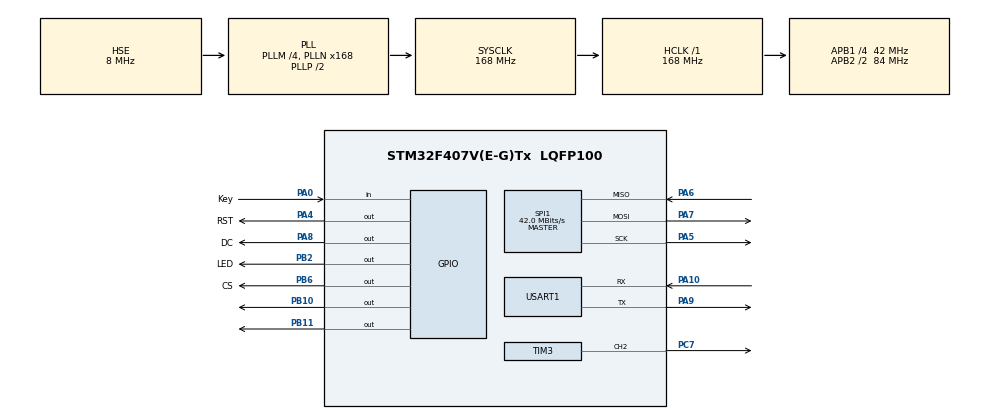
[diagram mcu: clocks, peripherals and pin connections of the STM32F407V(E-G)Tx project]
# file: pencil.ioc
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FREERTOS.Queues01=Mpu6050Queue,3,uint16_t,0,Static,Mpu6050QueueBuffer,Mpu6050QueueControlBlock;ModelgetQueue,10,uint16_t,0,Static,ModelgetQueueBuffer,ModelgetQueueControlBlock
FREERTOS.Tasks01=Mpu6050Task,24,128,Mpu6050,Default,NULL,Static,Mpu6050TaskBuffer,Mpu6050TaskControlBlock;ShowTask,24,128,Show,Default,NULL,Static,ShowTaskBuffer,ShowTaskControlBlock;DataTransTask,24,128,DataTrans,Default,NULL,Static,DataTransTaskBuffer,DataTransTaskControlBlock;DataGetTask,8,128,DataGet,Default,NULL,Static,DataGetTaskBuffer,DataGetTaskControlBlock;ModelTask,8,512,Model,Default,NULL,Static,ModelTaskBuffer,ModelTaskControlBlock
FREERTOS.configENABLE_FPU=1
Mcu.Family=STM32F4
Mcu.Name=STM32F407V(E-G)Tx
Mcu.Package=LQFP100
NVIC.PriorityGroup=NVIC_PRIORITYGROUP_4
NVIC.TIM2_IRQn=true\:15\:0\:false\:false\:true\:false\:false\:true\:true
NVIC.TIM4_IRQn=true\:5\:0\:false\:false\:true\:true\:true\:true\:true
NVIC.TimeBase=TIM2_IRQn
NVIC.TimeBaseIP=TIM2
NVIC.USART1_IRQn=true\:5\:0\:false\:false\:true\:true\:false\:true\:true
PA0-WKUP.GPIO_Label=Key
PA0-WKUP.Signal=GPIO_Input
PA10.Mode=Asynchronous
PA10.Signal=USART1_RX
PA13.Mode=Serial_Wire
PA13.Signal=SYS_JTMS-SWDIO
PA14.Mode=Serial_Wire
PA14.Signal=SYS_JTCK-SWCLK
PA4.GPIO_Label=RST
PA4.Signal=GPIO_Output
PA5.Mode=Full_Duplex_Master
PA5.Signal=SPI1_SCK
PA6.Mode=Full_Duplex_Master
PA6.Signal=SPI1_MISO
PA7.Mode=Full_Duplex_Master
PA7.Signal=SPI1_MOSI
PA8.GPIO_Label=DC
PA8.Signal=GPIO_Output
PA9.Mode=Asynchronous
PA9.Signal=USART1_TX
PB10.GPIO_ModeDefaultOutputPP=GPIO_MODE_OUTPUT_OD
PB10.GPIO_PuPd=GPIO_PULLUP
PB10.Signal=GPIO_Output
PB11.GPIO_ModeDefaultOutputPP=GPIO_MODE_OUTPUT_OD
PB11.GPIO_PuPd=GPIO_PULLUP
PB11.Signal=GPIO_Output
PB2.GPIO_Label=LED
PB2.Signal=GPIO_Output
PB6.GPIO_Label=CS
PB6.Signal=GPIO_Output
PC7.Signal=S_TIM3_CH2
PH0-OSC_IN.Mode=HSE-External-Oscillator
PH0-OSC_IN.Signal=RCC_OSC_IN
PH1-OSC_OUT.Mode=HSE-External-Oscillator
PH1-OSC_OUT.Signal=RCC_OSC_OUT
ProjectManager.HeapSize=0x200
ProjectManager.StackSize=0x400
ProjectManager.TargetToolchain=MDK-ARM V5.32
RCC.48MHZClocksFreq_Value=84000000
RCC.AHBFreq_Value=168000000
RCC.APB1CLKDivider=RCC_HCLK_DIV4
RCC.APB1Freq_Value=42000000
RCC.APB1TimFreq_Value=84000000
RCC.APB2CLKDivider=RCC_HCLK_DIV2
RCC.APB2Freq_Value=84000000
RCC.APB2TimFreq_Value=168000000
RCC.CortexFreq_Value=168000000
RCC.HCLKFreq_Value=168000000
RCC.HSE_VALUE=8000000
RCC.HSI_VALUE=16000000
RCC.LSE_VALUE=32768
RCC.PLLM=4
RCC.PLLN=168
RCC.PLLSourceVirtual=RCC_PLLSOURCE_HSE
RCC.SYSCLKFreq_VALUE=168000000
RCC.SYSCLKSource=RCC_SYSCLKSOURCE_PLLCLK
RCC.VCOOutputFreq_Value=336000000
SH.S_TIM3_CH2.0=TIM3_CH2,PWM Generation2 CH2
SPI1.CalculateBaudRate=42.0 MBits/s
SPI1.Direction=SPI_DIRECTION_2LINES
SPI1.Mode=SPI_MODE_MASTER
SPI1.VirtualType=VM_MASTER
TIM3.Channel-PWM\ Generation2\ CH2=TIM_CHANNEL_2
TIM3.Prescaler=300-1
TIM4.AutoReloadPreload=TIM_AUTORELOAD_PRELOAD_ENABLE
TIM4.Period=10000-1
TIM4.Prescaler=168-1
USART1.VirtualMode=VM_ASYNC
VP_FREERTOS_VS_CMSIS_V2.Mode=CMSIS_V2
VP_SYS_VS_tim2.Mode=TIM2
VP_TIM4_VS_ClockSourceINT.Mode=Internal
board=custom

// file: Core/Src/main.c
/* USER CODE BEGIN Header */
/**
  ******************************************************************************
  * @file           : main.c
  * @brief          : Main program body
  ******************************************************************************
  * @attention
  *
  * Copyright (c) 2025 STMicroelectronics.
  * All rights reserved.
  *
  * This software is licensed under terms that can be found in the LICENSE file
  * in the root directory of this software component.
  * If no LICENSE file comes with this software, it is provided AS-IS.
  *
  ******************************************************************************
  */
/* USER CODE END Header */
#include "main.h"
#include "cmsis_os.h"
#include "spi.h"
#include "tim.h"
#include "usart.h"
#include "gpio.h"

/* USER CODE BEGIN Includes */
#include <stdint.h>
#include <stdio.h>
#include <string.h>
/* USER CODE END Includes */

/* USER CODE BEGIN PTD */
#ifdef __GNUC__
#define PUTCHAR_PROTOTYPE int __io_putchar(int ch)
#else
#define PUTCHAR_PROTOTYPE int fputc(int ch, FILE *f)
#endif
/* USER CODE END PTD */

/* USER CODE BEGIN PD */
  uint16_t imu_sample_count = 0;
/* USER CODE END PD */

/* USER CODE BEGIN PM */
void DWT_Init(void)
{
    CoreDebug->DEMCR |= CoreDebug_DEMCR_TRCENA_Msk;
    DWT->CTRL |= DWT_CTRL_CYCCNTENA_Msk;
    DWT->CYCCNT = 0;
}
/* USER CODE END PM */

void SystemClock_Config(void);
void MX_FREERTOS_Init(void);

int main(void)
{

  /* MCU Configuration--------------------------------------------------------*/

  /* Reset of all peripherals, Initializes the Flash interface and the Systick. */
  HAL_Init();

  /* USER CODE BEGIN Init */
  DWT_Init();
  Key_Init();

  /* USER CODE END Init */

  /* Configure the system clock */
  SystemClock_Config();

  /* Initialize all configured peripherals */
  MX_GPIO_Init();
  MX_USART1_UART_Init();
  MX_SPI1_Init();
  MX_TIM3_Init();
  MX_TIM4_Init();
  /* USER CODE BEGIN 2 */
  printf("STM32F4 UART Printf Example\r\n");
  MPU6050_Init();
  /* USER CODE END 2 */

  /* Init scheduler */
  osKernelInitialize();

  /* Call init function for freertos objects (in cmsis_os2.c) */
  MX_FREERTOS_Init();

  /* Start scheduler */
  osKernelStart();

  /* We should never get here as control is now taken by the scheduler */

  /* Infinite loop */
  while (1)
  {

  }
}

void SystemClock_Config(void)
{
  RCC_OscInitTypeDef RCC_OscInitStruct = {0};
  RCC_ClkInitTypeDef RCC_ClkInitStruct = {0};

  /** Configure the main internal regulator output voltage
  */
  __HAL_RCC_PWR_CLK_ENABLE();
  __HAL_PWR_VOLTAGESCALING_CONFIG(PWR_REGULATOR_VOLTAGE_SCALE1);

  /** Initializes the RCC Oscillators according to the specified parameters
  * in the RCC_OscInitTypeDef structure.
  */
  RCC_OscInitStruct.OscillatorType = RCC_OSCILLATORTYPE_HSE;
  RCC_OscInitStruct.HSEState = RCC_HSE_ON;
  RCC_OscInitStruct.PLL.PLLState = RCC_PLL_ON;
  RCC_OscInitStruct.PLL.PLLSource = RCC_PLLSOURCE_HSE;
  RCC_OscInitStruct.PLL.PLLM = 4;
  RCC_OscInitStruct.PLL.PLLN = 168;
  RCC_OscInitStruct.PLL.PLLP = RCC_PLLP_DIV2;
  RCC_OscInitStruct.PLL.PLLQ = 4;
  if (HAL_RCC_OscConfig(&RCC_OscInitStruct) != HAL_OK)
  {
    Error_Handler();
  }

  /** Initializes the CPU, AHB and APB buses clocks
  */
  RCC_ClkInitStruct.ClockType = RCC_CLOCKTYPE_HCLK|RCC_CLOCKTYPE_SYSCLK
                              |RCC_CLOCKTYPE_PCLK1|RCC_CLOCKTYPE_PCLK2;
  RCC_ClkInitStruct.SYSCLKSource = RCC_SYSCLKSOURCE_PLLCLK;
  RCC_ClkInitStruct.AHBCLKDivider = RCC_SYSCLK_DIV1;
  RCC_ClkInitStruct.APB1CLKDivider = RCC_HCLK_DIV4;
  RCC_ClkInitStruct.APB2CLKDivider = RCC_HCLK_DIV2;

  if (HAL_RCC_ClockConfig(&RCC_ClkInitStruct, FLASH_LATENCY_5) != HAL_OK)
  {
    Error_Handler();
  }
}

/* USER CODE BEGIN 4 */
PUTCHAR_PROTOTYPE
{
    HAL_UART_Transmit(&huart1, (uint8_t *)&ch, 1, HAL_MAX_DELAY);
    return ch;
}

#ifdef __GNUC__
int _write(int file, char *ptr, int len)
{
    int DataIndex;
    for (DataIndex = 0; DataIndex < len; DataIndex++)
    {
        __io_putchar(*ptr++);
    }
    return len;
}
#endif
/* USER CODE END 4 */

void HAL_TIM_PeriodElapsedCallback(TIM_HandleTypeDef *htim)
{
  if(htim->Instance == TIM2)
  {
    HAL_IncTick();
  }
  /* USER CODE BEGIN Callback 1 */
  if(htim->Instance == TIM4)
    {
        if(imu_sample_state == SAMPLE_RUNNING)
        {
            //printf("imu_sample_count = %d\r\n", imu_sample_count);
            if(imu_sample_count < IMU_SEQUENCE_LENGTH_MAX)
            {
                IMU_Get_Data(imu_sample_count++);
                HAL_GPIO_TogglePin(LED_GPIO_Port, LED_Pin);  // LEDָʾ����״̬
            }
            else
            {
                IMU_Sample_Stop();
                IMU_Data_Print();
            }
        }
    }
  /* USER CODE END Callback 1 */
}

void Error_Handler(void)
{
  __disable_irq();
  while (1)
  {
  }
}

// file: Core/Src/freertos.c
/* USER CODE BEGIN Header */
/**
  ******************************************************************************
  * File Name          : freertos.c
  * Description        : Code for freertos applications
  ******************************************************************************
  * @attention
  *
  * Copyright (c) 2025 STMicroelectronics.
  * All rights reserved.
  *
  * This software is licensed under terms that can be found in the LICENSE file
  * in the root directory of this software component.
  * If no LICENSE file comes with this software, it is provided AS-IS.
  *
  ******************************************************************************
  */
/* USER CODE END Header */

#include "main.h"

typedef StaticTask_t osStaticThreadDef_t;
typedef StaticQueue_t osStaticMessageQDef_t;

/* USER CODE BEGIN Variables */
// osMutexId_t printfMutexHandle;
// const osMutexAttr_t printfMutex_attributes = {
//     .name = "printfMutex"
// };

/* USER CODE END Variables */
/* Definitions for Mpu6050Task */
osThreadId_t Mpu6050TaskHandle;
uint32_t Mpu6050TaskBuffer[ 128 ];
osStaticThreadDef_t Mpu6050TaskControlBlock;
const osThreadAttr_t Mpu6050Task_attributes = {
  .name = "Mpu6050Task",
  .cb_mem = &Mpu6050TaskControlBlock,
  .cb_size = sizeof(Mpu6050TaskControlBlock),
  .stack_mem = &Mpu6050TaskBuffer[0],
  .stack_size = sizeof(Mpu6050TaskBuffer),
  .priority = (osPriority_t) osPriorityNormal,
};
/* Definitions for ShowTask */
osThreadId_t ShowTaskHandle;
uint32_t ShowTaskBuffer[ 512 ];
osStaticThreadDef_t ShowTaskControlBlock;
const osThreadAttr_t ShowTask_attributes = {
  .name = "ShowTask",
  .cb_mem = &ShowTaskControlBlock,
  .cb_size = sizeof(ShowTaskControlBlock),
  .stack_mem = &ShowTaskBuffer[0],
  .stack_size = sizeof(ShowTaskBuffer),
  .priority = (osPriority_t) osPriorityAboveNormal1,
};
/* Definitions for DataTransTask */
osThreadId_t DataTransTaskHandle;
uint32_t DataTransTaskBuffer[ 512 ];
osStaticThreadDef_t DataTransTaskControlBlock;
const osThreadAttr_t DataTransTask_attributes = {
  .name = "DataTransTask",
  .cb_mem = &DataTransTaskControlBlock,
  .cb_size = sizeof(DataTransTaskControlBlock),
  .stack_mem = &DataTransTaskBuffer[0],
  .stack_size = sizeof(DataTransTaskBuffer),
  .priority = (osPriority_t) osPriorityAboveNormal2,
};
/* Definitions for DataGetTask */
osThreadId_t DataGetTaskHandle;
uint32_t DataGetTaskBuffer[ 128 ];
osStaticThreadDef_t DataGetTaskControlBlock;
const osThreadAttr_t DataGetTask_attributes = {
  .name = "DataGetTask",
  .cb_mem = &DataGetTaskControlBlock,
  .cb_size = sizeof(DataGetTaskControlBlock),
  .stack_mem = &DataGetTaskBuffer[0],
  .stack_size = sizeof(DataGetTaskBuffer),
  .priority = (osPriority_t) osPriorityNormal,
};
/* Definitions for ModelTask */
osThreadId_t ModelTaskHandle;
uint32_t ModelTaskBuffer[ 1024 ];
osStaticThreadDef_t ModelTaskControlBlock;
const osThreadAttr_t ModelTask_attributes = {
  .name = "ModelTask",
  .cb_mem = &ModelTaskControlBlock,
  .cb_size = sizeof(ModelTaskControlBlock),
  .stack_mem = &ModelTaskBuffer[0],
  .stack_size = sizeof(ModelTaskBuffer),
  .priority = (osPriority_t) osPriorityAboveNormal3,
};
/* Definitions for Mpu6050Queue */
osMessageQueueId_t Mpu6050QueueHandle;
uint8_t Mpu6050QueueBuffer[ 3 * sizeof( uint16_t ) ];
osStaticMessageQDef_t Mpu6050QueueControlBlock;
const osMessageQueueAttr_t Mpu6050Queue_attributes = {
  .name = "Mpu6050Queue",
  .cb_mem = &Mpu6050QueueControlBlock,
  .cb_size = sizeof(Mpu6050QueueControlBlock),
  .mq_mem = &Mpu6050QueueBuffer,
  .mq_size = sizeof(Mpu6050QueueBuffer)
};
/* Definitions for ModelgetQueue */
osMessageQueueId_t ModelgetQueueHandle;
uint8_t ModelgetQueueBuffer[ 10 * sizeof( uint16_t ) ];
osStaticMessageQDef_t ModelgetQueueControlBlock;
const osMessageQueueAttr_t ModelgetQueue_attributes = {
  .name = "ModelgetQueue",
  .cb_mem = &ModelgetQueueControlBlock,
  .cb_size = sizeof(ModelgetQueueControlBlock),
  .mq_mem = &ModelgetQueueBuffer,
  .mq_size = sizeof(ModelgetQueueBuffer)
};

void Mpu6050(void *argument);
void Show(void *argument);
void DataTrans(void *argument);
void DataGet(void *argument);
void Model(void *argument);

void MX_FREERTOS_Init(void); /* (MISRA C 2004 rule 8.1) */

void MX_FREERTOS_Init(void) {

  /* USER CODE BEGIN RTOS_MUTEX */
  /* add mutexes, ... */
  // printfMutexHandle = osMutexNew(&printfMutex_attributes);

  /* USER CODE END RTOS_MUTEX */

  /* Create the queue(s) */
  /* creation of Mpu6050Queue */
  Mpu6050QueueHandle = osMessageQueueNew (3, sizeof(uint16_t), &Mpu6050Queue_attributes);

  /* creation of ModelgetQueue */
  ModelgetQueueHandle = osMessageQueueNew (10, sizeof(uint16_t), &ModelgetQueue_attributes);

  /* Create the thread(s) */
  /* creation of Mpu6050Task */
  Mpu6050TaskHandle = osThreadNew(Mpu6050, NULL, &Mpu6050Task_attributes);

  /* creation of ShowTask */
  ShowTaskHandle = osThreadNew(Show, NULL, &ShowTask_attributes);

  /* creation of DataTransTask */
  DataTransTaskHandle = osThreadNew(DataTrans, NULL, &DataTransTask_attributes);

  /* creation of DataGetTask */
  DataGetTaskHandle = osThreadNew(DataGet, NULL, &DataGetTask_attributes);

  /* creation of ModelTask */
  ModelTaskHandle = osThreadNew(Model, NULL, &ModelTask_attributes);

}

// void Mpu6050(void *argument)
// {
//   /* USER CODE BEGIN Mpu6050 */
// //   /* Infinite loop */

// //   uint32_t lastWakeTime = xTaskGetTickCount();
// //   for(;;)
// //   {
// //     vTaskDelayUntil(&lastWakeTime,F2T(RATE_10_HZ));
// //     HAL_GPIO_WritePin(GPIOB, GPIO_PIN_2, GPIO_PIN_SET);

// //   }
//   /* USER CODE END Mpu6050 */
// }

// void Show(void *argument)
// {
//   /* USER CODE BEGIN Show */
// //   /* Infinite loop */
// //   for(;;)
// //   {

// //   }
//   /* USER CODE END Show */
// }

void DataTrans(void *argument)
{
  /* USER CODE BEGIN DataTrans */
  /* Infinite loop */
   //printf("DataTrans Task Started\r\n");
  uint32_t lastWakeTime = xTaskGetTickCount();
  for(;;)
  {
    vTaskDelayUntil(&lastWakeTime,F2T(RATE_10_HZ));//10hz
    Key_Process();

    //printf("DataTrans Task Running\r\n");
  }
  /* USER CODE END DataTrans */
}

void DataGet(void *argument)
{
  /* USER CODE BEGIN DataGet */
  /* Infinite loop */
  //printf("DataGet Task Started\r\n");
  uint32_t lastWakeTime = xTaskGetTickCount();
  for(;;)
  {
    vTaskDelayUntil(&lastWakeTime,F2T(RATE_10_HZ));//50hz������Ƶ��
    //printf("DataGet Task Running\r\n");
  }
  /* USER CODE END DataGet */
}

// void Model(void *argument)
// {
//   /* USER CODE BEGIN Model */
//   /* Infinite loop */
//   //printf("Model Task Started\r\n");
//   uint32_t lastWakeTime = xTaskGetTickCount();
//   for(;;)
//   {

//     vTaskDelayUntil(&lastWakeTime,F2T(RATE_10_HZ));//50hz������Ƶ��
//    // printf("Model Task Running\r\n");
//   }
//   /* USER CODE END Model */
// }
